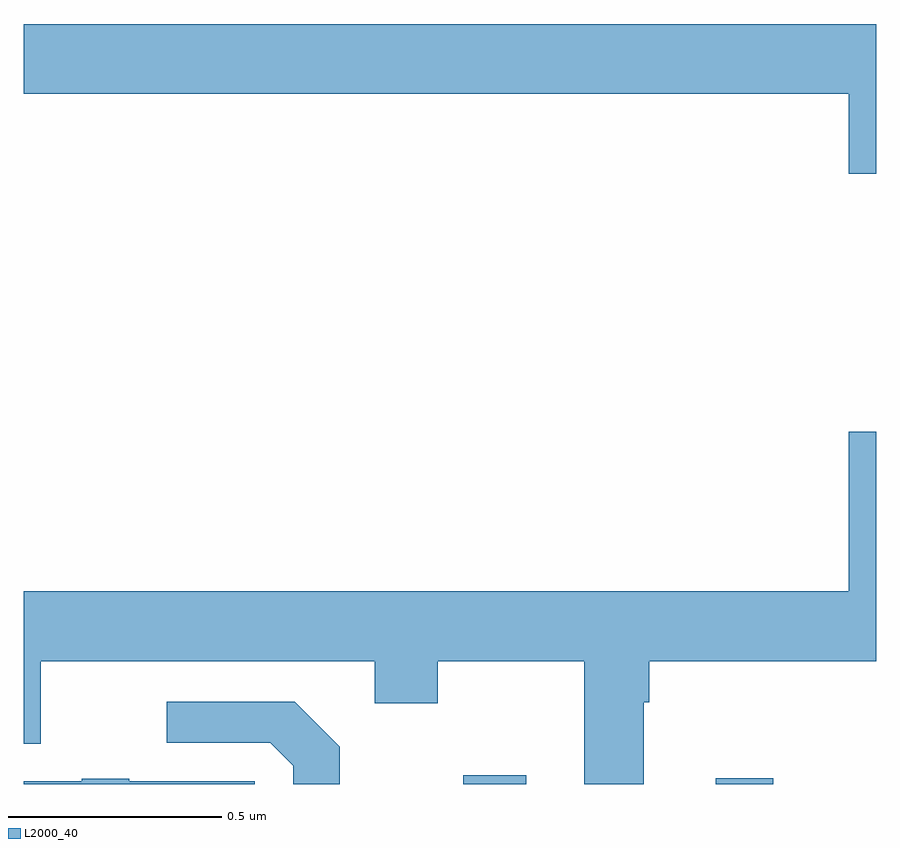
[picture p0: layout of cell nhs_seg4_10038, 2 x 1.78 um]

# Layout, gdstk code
import gdstk
lib = gdstk.Library(unit=1e-6, precision=1e-09)
def R(c, l, rs):  # rectangles x0, y0, x1, y1
    for r in rs: c.add(gdstk.rectangle(r[:2], r[2:], *l))
def P(c, l, *ps):  # polygons
    for p in ps: c.add(gdstk.Polygon(p, *l))
L2000_40 = (2000, 40)

nhs_seg4_10038 = lib.new_cell('nhs_seg4_10038')
R(nhs_seg4_10038, L2000_40, [(236.031,761.9,236.179,761.92), (236.624,761.9,236.759,761.914)])
P(nhs_seg4_10038, L2000_40, [(237,763.684),(235,763.684),(235,763.52),(236.936,763.52),(236.936,763.332),(237,763.332)],
  [(236.455,762.092),(236.468,762.092),(236.468,762.188),(237,762.188),(237,762.727),(236.936,762.727),(236.936,762.352),(235,762.352),(235,761.994),(235.039,761.994),(235.039,762.188),(235.823,762.188),(235.823,762.089),(235.971,762.089),(235.971,762.188),(236.315,762.188),(236.315,761.9),(236.455,761.9)],
  [(235.741,761.987),(235.635,762.093),(235.335,762.093),(235.335,761.997),(235.578,761.997),(235.632,761.943),(235.632,761.9),(235.741,761.9)],
  [(235.542,761.907),(235.247,761.907),(235.247,761.912),(235.135,761.912),(235.135,761.907),(235,761.907),(235,761.9),(235.542,761.9)])

lib.write_gds('nhs_seg4_10038.gds')
